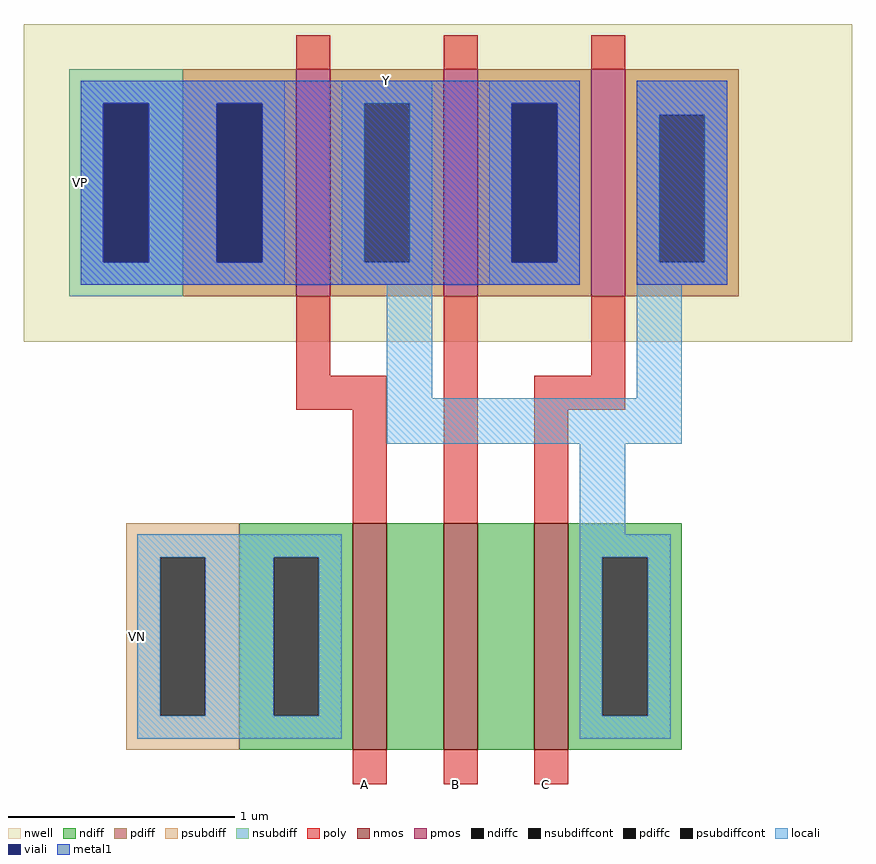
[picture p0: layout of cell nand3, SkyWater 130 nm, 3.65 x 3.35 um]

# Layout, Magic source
magic
tech sky130A
<< nwell >>
rect -95 180 270 320
<< nmos >>
rect 50 0 65 100
rect 90 0 105 100
rect 130 0 145 100
<< pmos >>
rect 25 200 40 300
rect 90 200 105 300
rect 155 200 170 300
<< ndiff >>
rect 0 85 50 100
rect 0 15 15 85
rect 35 15 50 85
rect 0 0 50 15
rect 65 0 90 100
rect 105 0 130 100
rect 145 85 195 100
rect 145 15 160 85
rect 180 15 195 85
rect 145 0 195 15
<< pdiff >>
rect -25 285 25 300
rect -25 215 -10 285
rect 10 215 25 285
rect -25 200 25 215
rect 40 285 90 300
rect 40 215 55 285
rect 75 215 90 285
rect 40 200 90 215
rect 105 285 155 300
rect 105 215 120 285
rect 140 215 155 285
rect 105 200 155 215
rect 170 280 220 300
rect 170 215 185 280
rect 205 215 220 280
rect 170 200 220 215
<< ndiffc >>
rect 15 15 35 85
rect 160 15 180 85
<< pdiffc >>
rect -10 215 10 285
rect 55 215 75 285
rect 120 215 140 285
rect 185 215 205 280
<< psubdiff >>
rect -50 85 0 100
rect -50 15 -35 85
rect -15 15 0 85
rect -50 0 0 15
<< nsubdiff >>
rect -75 285 -25 300
rect -75 215 -60 285
rect -40 215 -25 285
rect -75 200 -25 215
<< psubdiffcont >>
rect -35 15 -15 85
<< nsubdiffcont >>
rect -60 215 -40 285
<< poly >>
rect 25 300 40 315
rect 90 300 105 315
rect 155 300 170 315
rect 25 165 40 200
rect 25 150 65 165
rect 50 100 65 150
rect 90 100 105 200
rect 155 165 170 200
rect 130 150 170 165
rect 130 100 145 150
rect 50 -15 65 0
rect 90 -15 105 0
rect 130 -15 145 0
<< locali >>
rect -70 285 20 295
rect -70 215 -60 285
rect -40 215 -10 285
rect 10 215 20 285
rect -70 205 20 215
rect 45 285 85 295
rect 45 215 55 285
rect 75 215 85 285
rect 45 205 85 215
rect 110 285 150 295
rect 110 215 120 285
rect 140 215 150 285
rect 110 205 150 215
rect 175 280 215 295
rect 175 215 185 280
rect 205 215 215 280
rect 175 205 215 215
rect 65 155 85 205
rect 175 155 195 205
rect 65 135 195 155
rect 150 95 170 135
rect -45 85 45 95
rect -45 15 -35 85
rect -15 15 15 85
rect 35 15 45 85
rect -45 5 45 15
rect 150 85 190 95
rect 150 15 160 85
rect 180 15 190 85
rect 150 5 190 15
<< viali >>
rect -60 215 -40 285
rect -10 215 10 285
rect 120 215 140 285
<< metal1 >>
rect -70 285 150 295
rect -70 215 -60 285
rect -40 215 -10 285
rect 10 215 120 285
rect 140 215 150 285
rect -70 205 150 215
rect 175 205 215 295
<< labels >>
flabel poly 55 -15 55 -15 1 FreeSans 160 0 0 0 A
port 1 n
flabel poly 95 -15 95 -15 1 FreeSans 160 0 0 0 B
port 2 n
flabel locali 65 295 65 295 5 FreeSans 160 0 0 0 Y
port 3 s
flabel locali -45 50 -45 50 3 FreeSans 160 0 0 0 VN
port 5 e
flabel locali -70 250 -70 250 3 FreeSans 160 0 0 0 VP
port 4 e
flabel poly 135 -15 135 -15 1 FreeSans 160 0 0 0 C
port 6 n
<< end >>
